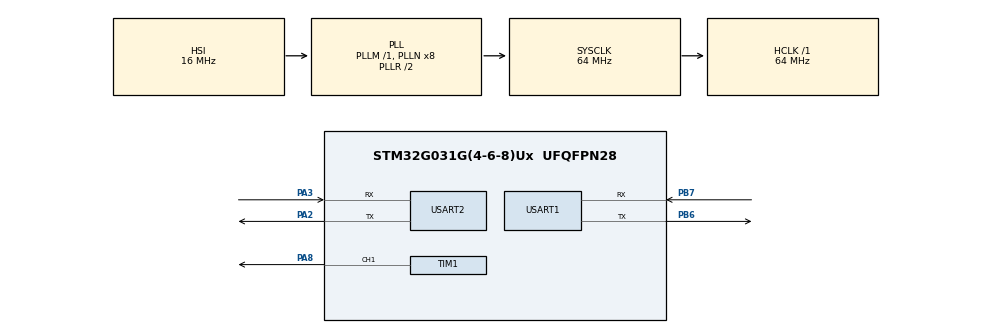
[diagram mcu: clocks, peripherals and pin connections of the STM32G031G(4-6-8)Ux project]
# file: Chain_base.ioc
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Dma.Request0=USART1_RX
Dma.Request1=USART1_TX
Dma.Request2=USART2_RX
Dma.Request3=USART2_TX
Dma.Request4=TIM1_CH1
Dma.TIM1_CH1.4.Direction=DMA_MEMORY_TO_PERIPH
Dma.TIM1_CH1.4.EventEnable=DISABLE
Dma.TIM1_CH1.4.Instance=DMA1_Channel5
Dma.TIM1_CH1.4.MemDataAlignment=DMA_MDATAALIGN_BYTE
Dma.TIM1_CH1.4.MemInc=DMA_MINC_ENABLE
Dma.TIM1_CH1.4.Mode=DMA_NORMAL
Dma.TIM1_CH1.4.PeriphDataAlignment=DMA_PDATAALIGN_HALFWORD
Dma.TIM1_CH1.4.PeriphInc=DMA_PINC_DISABLE
Dma.TIM1_CH1.4.Polarity=HAL_DMAMUX_REQ_GEN_RISING
Dma.TIM1_CH1.4.Priority=DMA_PRIORITY_LOW
Dma.TIM1_CH1.4.RequestNumber=1
Dma.TIM1_CH1.4.SignalID=NONE
Dma.TIM1_CH1.4.SyncEnable=DISABLE
Dma.TIM1_CH1.4.SyncPolarity=HAL_DMAMUX_SYNC_NO_EVENT
Dma.TIM1_CH1.4.SyncRequestNumber=1
Dma.TIM1_CH1.4.SyncSignalID=NONE
Dma.USART1_RX.0.Direction=DMA_PERIPH_TO_MEMORY
Dma.USART1_RX.0.EventEnable=DISABLE
Dma.USART1_RX.0.Instance=DMA1_Channel1
Dma.USART1_RX.0.MemDataAlignment=DMA_MDATAALIGN_BYTE
Dma.USART1_RX.0.MemInc=DMA_MINC_ENABLE
Dma.USART1_RX.0.Mode=DMA_NORMAL
Dma.USART1_RX.0.PeriphDataAlignment=DMA_PDATAALIGN_BYTE
Dma.USART1_RX.0.PeriphInc=DMA_PINC_DISABLE
Dma.USART1_RX.0.Polarity=HAL_DMAMUX_REQ_GEN_RISING
Dma.USART1_RX.0.Priority=DMA_PRIORITY_LOW
Dma.USART1_RX.0.RequestNumber=1
Dma.USART1_RX.0.SignalID=NONE
Dma.USART1_RX.0.SyncEnable=DISABLE
Dma.USART1_RX.0.SyncPolarity=HAL_DMAMUX_SYNC_NO_EVENT
Dma.USART1_RX.0.SyncRequestNumber=1
Dma.USART1_RX.0.SyncSignalID=NONE
Dma.USART1_TX.1.Direction=DMA_MEMORY_TO_PERIPH
Dma.USART1_TX.1.EventEnable=DISABLE
Dma.USART1_TX.1.Instance=DMA1_Channel2
Dma.USART1_TX.1.MemDataAlignment=DMA_MDATAALIGN_BYTE
Dma.USART1_TX.1.MemInc=DMA_MINC_ENABLE
Dma.USART1_TX.1.Mode=DMA_NORMAL
Dma.USART1_TX.1.PeriphDataAlignment=DMA_PDATAALIGN_BYTE
Dma.USART1_TX.1.PeriphInc=DMA_PINC_DISABLE
Dma.USART1_TX.1.Polarity=HAL_DMAMUX_REQ_GEN_RISING
Dma.USART1_TX.1.Priority=DMA_PRIORITY_LOW
Dma.USART1_TX.1.RequestNumber=1
Dma.USART1_TX.1.SignalID=NONE
Dma.USART1_TX.1.SyncEnable=DISABLE
Dma.USART1_TX.1.SyncPolarity=HAL_DMAMUX_SYNC_NO_EVENT
Dma.USART1_TX.1.SyncRequestNumber=1
Dma.USART1_TX.1.SyncSignalID=NONE
Dma.USART2_RX.2.Direction=DMA_PERIPH_TO_MEMORY
Dma.USART2_RX.2.EventEnable=DISABLE
Dma.USART2_RX.2.Instance=DMA1_Channel3
Dma.USART2_RX.2.MemDataAlignment=DMA_MDATAALIGN_BYTE
Dma.USART2_RX.2.MemInc=DMA_MINC_ENABLE
Dma.USART2_RX.2.Mode=DMA_NORMAL
Dma.USART2_RX.2.PeriphDataAlignment=DMA_PDATAALIGN_BYTE
Dma.USART2_RX.2.PeriphInc=DMA_PINC_DISABLE
Dma.USART2_RX.2.Polarity=HAL_DMAMUX_REQ_GEN_RISING
Dma.USART2_RX.2.Priority=DMA_PRIORITY_LOW
Dma.USART2_RX.2.RequestNumber=1
Dma.USART2_RX.2.SignalID=NONE
Dma.USART2_RX.2.SyncEnable=DISABLE
Dma.USART2_RX.2.SyncPolarity=HAL_DMAMUX_SYNC_NO_EVENT
Dma.USART2_RX.2.SyncRequestNumber=1
Dma.USART2_RX.2.SyncSignalID=NONE
Dma.USART2_TX.3.Direction=DMA_MEMORY_TO_PERIPH
Dma.USART2_TX.3.EventEnable=DISABLE
Dma.USART2_TX.3.Instance=DMA1_Channel4
Dma.USART2_TX.3.MemDataAlignment=DMA_MDATAALIGN_BYTE
Dma.USART2_TX.3.MemInc=DMA_MINC_ENABLE
Dma.USART2_TX.3.Mode=DMA_NORMAL
Dma.USART2_TX.3.PeriphDataAlignment=DMA_PDATAALIGN_BYTE
Dma.USART2_TX.3.PeriphInc=DMA_PINC_DISABLE
Dma.USART2_TX.3.Polarity=HAL_DMAMUX_REQ_GEN_RISING
Dma.USART2_TX.3.Priority=DMA_PRIORITY_LOW
Dma.USART2_TX.3.RequestNumber=1
Dma.USART2_TX.3.SignalID=NONE
Dma.USART2_TX.3.SyncEnable=DISABLE
Dma.USART2_TX.3.SyncPolarity=HAL_DMAMUX_SYNC_NO_EVENT
Dma.USART2_TX.3.SyncRequestNumber=1
Dma.USART2_TX.3.SyncSignalID=NONE
IWDG.Prescaler=IWDG_PRESCALER_16
Mcu.Family=STM32G0
Mcu.Name=STM32G031G(4-6-8)Ux
Mcu.Package=UFQFPN28
NVIC.DMA1_Ch4_5_DMAMUX1_OVR_IRQn=true\:1\:0\:true\:false\:true\:false\:true\:true
NVIC.DMA1_Channel1_IRQn=true\:1\:0\:true\:false\:true\:false\:true\:true
NVIC.DMA1_Channel2_3_IRQn=true\:1\:0\:true\:false\:true\:false\:true\:true
NVIC.FLASH_IRQn=true\:1\:0\:true\:false\:true\:true\:true\:true
NVIC.TIM14_IRQn=true\:1\:0\:true\:false\:true\:true\:true\:true
NVIC.TIM16_IRQn=true\:1\:0\:true\:false\:true\:true\:true\:true
NVIC.USART1_IRQn=true\:0\:0\:false\:false\:true\:false\:true\:true
NVIC.USART2_IRQn=true\:0\:0\:false\:false\:true\:false\:true\:true
PA2.GPIO_PuPd=GPIO_PULLUP
PA2.GPIO_Speed=GPIO_SPEED_FREQ_HIGH
PA2.Mode=Asynchronous
PA2.PinState=GPIO_PIN_RESET
PA2.Signal=USART2_TX
PA3.GPIO_PuPd=GPIO_PULLUP
PA3.GPIO_Speed=GPIO_SPEED_FREQ_HIGH
PA3.Mode=Asynchronous
PA3.PinState=GPIO_PIN_RESET
PA3.Signal=USART2_RX
PA8.Signal=S_TIM1_CH1
PB6.GPIO_PuPd=GPIO_PULLUP
PB6.GPIO_Speed=GPIO_SPEED_FREQ_HIGH
PB6.Mode=Asynchronous
PB6.Signal=USART1_TX
PB7.GPIO_PuPd=GPIO_PULLUP
PB7.GPIO_Speed=GPIO_SPEED_FREQ_HIGH
PB7.Mode=Asynchronous
PB7.Signal=USART1_RX
ProjectManager.HeapSize=0x200
ProjectManager.StackSize=0x400
ProjectManager.TargetToolchain=STM32CubeIDE
RCC.ADCFreq_Value=64000000
RCC.AHBFreq_Value=64000000
RCC.CortexFreq_Value=64000000
RCC.EXTERNAL_CLOCK_VALUE=12288000
RCC.HCLKFreq_Value=64000000
RCC.HSE_VALUE=8000000
RCC.HSI_VALUE=16000000
RCC.LSE_VALUE=32768
RCC.PLLQ=RCC_PLLQ_DIV4
RCC.SYSCLKFreq_VALUE=64000000
RCC.SYSCLKSource=RCC_SYSCLKSOURCE_PLLCLK
RCC.VCOOutputFreq_Value=128000000
SH.S_TIM1_CH1.0=TIM1_CH1,PWM Generation1 CH1
TIM1.Channel-PWM\ Generation1\ CH1=TIM_CHANNEL_1
TIM1.Period=79
TIM14.AutoReloadPreload=TIM_AUTORELOAD_PRELOAD_ENABLE
TIM14.Period=1699
TIM14.Prescaler=6399
TIM16.Period=9999
TIM16.Prescaler=6399
USART1.VirtualMode-Asynchronous=VM_ASYNC
USART2.VirtualMode-Asynchronous=VM_ASYNC
VP_IWDG_VS_IWDG.Mode=IWDG_Activate
VP_TIM14_VS_ClockSourceINT.Mode=Enable_Timer
VP_TIM16_VS_ClockSourceINT.Mode=Enable_Timer
VP_TIM1_VS_ClockSourceINT.Mode=Internal
board=custom

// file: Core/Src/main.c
/* USER CODE BEGIN Header */
/**
 ******************************************************************************
 * @file           : main.c
 * @brief          : Main program body
 ******************************************************************************
 * @attention
 *
 * Copyright (c) 2024 STMicroelectronics.
 * All rights reserved.
 *
 * This software is licensed under terms that can be found in the LICENSE file
 * in the root directory of this software component.
 * If no LICENSE file comes with this software, it is provided AS-IS.
 *
 ******************************************************************************
 */
/* USER CODE END Header */
#include "main.h"
#include "dma.h"
#include "iwdg.h"
#include "tim.h"
#include "usart.h"
#include "gpio.h"

/* USER CODE BEGIN Includes */
#include "base_function.h"
#include "RGB.h"
#include "myflash.h"
/* USER CODE END Includes */

/* USER CODE BEGIN PV */
// DMA receive buffers
__IO uint8_t g_uart_in_rx_buf[2][BUFFER_SIZE]; // uart_in receive buffer for DMA
__IO uint8_t g_uart_out_rx_buf[2][BUFFER_SIZE]; // uart_out receive buffer for DMA

// Transmission status for UART
__IO uint8_t g_uart_in_tx_status = 0; // Status of uart_in transmission (0: not transmitting, 1: transmitting)
__IO uint8_t g_uart_out_tx_status = 0; // Status of uart_out transmission (0: not transmitting, 1: transmitting)

// Transmission complete flags for UART
__IO uint8_t g_uart_in_transmit_commplete = 1; // Flag indicating if uart_in transmission is complete (1: complete)
__IO uint8_t g_uart_out_transmit_commplete = 1; // Flag indicating if uart_out transmission is complete (1: complete)

// Command buffer and related variables
__IO uint8_t g_cmd_buf[BUFFER_SIZE] = {0}; // Command buffer initialized to zero
__IO uint8_t g_cmd_size = 0; // Size of the command currently in the buffer
__IO uint8_t g_cmd_status = CMD_SPACE_IDLE_STATUS; // Status of the command processing

// Device status variables
__IO uint8_t g_tail_status = CHAIN_TAIL_DEVICE; // Status of the tail device in the chain
__IO uint8_t g_heart_beat_record = 0; // Heartbeat record for monitoring device status
__IO uint8_t g_bootloader_version = 0; // Version of the bootloader
__IO uint8_t g_firmware_version = SOFTWARE_VERSION; // Version of the firmware

// Device type information
__IO uint16_t g_device_type = (uint8_t)((PRODUCT_TYPE_HIGH << 8) | PRODUCT_TYPE_LOW); // Combined product type from high and low bytes
__IO uint8_t g_light = 0; // Light status or value

/* USER CODE END PV */

void SystemClock_Config(void);

/* USER CODE BEGIN 0 */
/**
 * @brief Set the Interrupt Vector Table for the application in SRAM.
 * @param None
 * @retval None
 */
void iap_set(void)
{
    uint8_t i;  // Loop index
    uint32_t *pVecTab = (uint32_t *)(0x20000000);  // Pointer to the vector table in SRAM

    // Copy the interrupt vector table from the application address to SRAM
    for (i = 0; i < 48; i++)
    {
        // Copy each vector entry to the SRAM vector table
        *(pVecTab++) = *(__IO uint32_t *)(APPLICATION_ADDRESS + (i << 2));
    }

    // Enable the SYSCFG peripheral clock
    __HAL_RCC_SYSCFG_CLK_ENABLE();

    // Remap the memory to use SRAM for the vector table
    __HAL_SYSCFG_REMAPMEMORY_SRAM();
}

/**
 * @brief Initialize the chain device settings.
 * @param None
 * @retval None
 */
void chain_init(void)
{
    // Get the version of the bootloader
    g_bootloader_version = get_bootloader_version();

    // Check if the RGB light setting is set to maximum (0xFF)
    if (get_rgb_light() == 0xFF)
    {
        // Set the light to a base color if it is maximum
        g_light = RGB_LIGHT_BASE;
        set_rgb_light(g_light);
    }
    else
    {
        // Otherwise, get the current RGB light setting
        g_light = get_rgb_light();
    }
}
/* USER CODE END 0 */

int main(void)
{

  /* USER CODE BEGIN 1 */
  iap_set();
  chain_init();
  /* USER CODE END 1 */

  /* MCU Configuration--------------------------------------------------------*/

  /* Reset of all peripherals, Initializes the Flash interface and the Systick. */
  HAL_Init();

  /* Configure the system clock */
  SystemClock_Config();

  /* Initialize all configured peripherals */
  MX_GPIO_Init();
  MX_DMA_Init();
  MX_USART1_UART_Init();
  MX_USART2_UART_Init();
  MX_IWDG_Init();
  MX_TIM14_Init();
  MX_TIM16_Init();
  MX_TIM1_Init();
  /* USER CODE BEGIN 2 */
  rgb_init();
  LL_TIM_EnableIT_UPDATE(TIM14); // ENABLE TIM14
  LL_TIM_EnableCounter(TIM14);   // ENABLE TIM14

  /* USER CODE END 2 */

  /* Infinite loop */
  /* USER CODE BEGIN WHILE */
  while (1)
  {
    if (g_cmd_status == CMD_SPACE_BUSY_STATUS)
    {
      switch (g_cmd_buf[0])
      {
      case CHAIN_SET_RGB_VALUE:
        chain_set_rgb_value((uint8_t *)(g_cmd_buf + 1), (g_cmd_size - 1));
        break;
      case CHAIN_GET_RGB_VALUE:
        chain_get_rgb_value();
        break;
      case CHAIN_SET_RGB_LIGHT:
        chain_set_light_value(g_cmd_buf[1]);
        break;
      case CHAIN_GET_RGB_LIGHT:
        chain_get_light_value();
        break;
      case CHAIN_GET_BOOTLOADER_VERSION:
        chain_get_bootloader_version_handle();
        break;
      case CHAIN_GET_VERSION_DEVICE:
        chain_get_firmware_version_handle();
        break;
      case CHAIN_GET_DEVICE_TYPE:
        chain_get_device_type_handle();
        break;
      case CHAIN_IAP_UPDATE:
        chain_iap_update_handle(g_cmd_buf[1]);
        break;
      default:
        break;
      }
      g_cmd_status = CMD_SPACE_IDLE_STATUS;
    }
    /* USER CODE END WHILE */

    /* USER CODE BEGIN 3 */
    LL_IWDG_ReloadCounter(IWDG);
  }
  /* USER CODE END 3 */
}

void SystemClock_Config(void)
{
  RCC_OscInitTypeDef RCC_OscInitStruct = {0};
  RCC_ClkInitTypeDef RCC_ClkInitStruct = {0};

  /** Configure the main internal regulator output voltage
  */
  HAL_PWREx_ControlVoltageScaling(PWR_REGULATOR_VOLTAGE_SCALE1);

  /** Initializes the RCC Oscillators according to the specified parameters
  * in the RCC_OscInitTypeDef structure.
  */
  RCC_OscInitStruct.OscillatorType = RCC_OSCILLATORTYPE_HSI|RCC_OSCILLATORTYPE_LSI;
  RCC_OscInitStruct.HSIState = RCC_HSI_ON;
  RCC_OscInitStruct.HSIDiv = RCC_HSI_DIV1;
  RCC_OscInitStruct.HSICalibrationValue = RCC_HSICALIBRATION_DEFAULT;
  RCC_OscInitStruct.LSIState = RCC_LSI_ON;
  RCC_OscInitStruct.PLL.PLLState = RCC_PLL_ON;
  RCC_OscInitStruct.PLL.PLLSource = RCC_PLLSOURCE_HSI;
  RCC_OscInitStruct.PLL.PLLM = RCC_PLLM_DIV1;
  RCC_OscInitStruct.PLL.PLLN = 8;
  RCC_OscInitStruct.PLL.PLLP = RCC_PLLP_DIV2;
  RCC_OscInitStruct.PLL.PLLQ = RCC_PLLQ_DIV4;
  RCC_OscInitStruct.PLL.PLLR = RCC_PLLR_DIV2;
  if (HAL_RCC_OscConfig(&RCC_OscInitStruct) != HAL_OK)
  {
    Error_Handler();
  }

  /** Initializes the CPU, AHB and APB buses clocks
  */
  RCC_ClkInitStruct.ClockType = RCC_CLOCKTYPE_HCLK|RCC_CLOCKTYPE_SYSCLK
                              |RCC_CLOCKTYPE_PCLK1;
  RCC_ClkInitStruct.SYSCLKSource = RCC_SYSCLKSOURCE_PLLCLK;
  RCC_ClkInitStruct.AHBCLKDivider = RCC_SYSCLK_DIV1;
  RCC_ClkInitStruct.APB1CLKDivider = RCC_HCLK_DIV1;

  if (HAL_RCC_ClockConfig(&RCC_ClkInitStruct, FLASH_LATENCY_2) != HAL_OK)
  {
    Error_Handler();
  }
}

void Error_Handler(void)
{
  __disable_irq();
  while (1)
  {
  }
}
